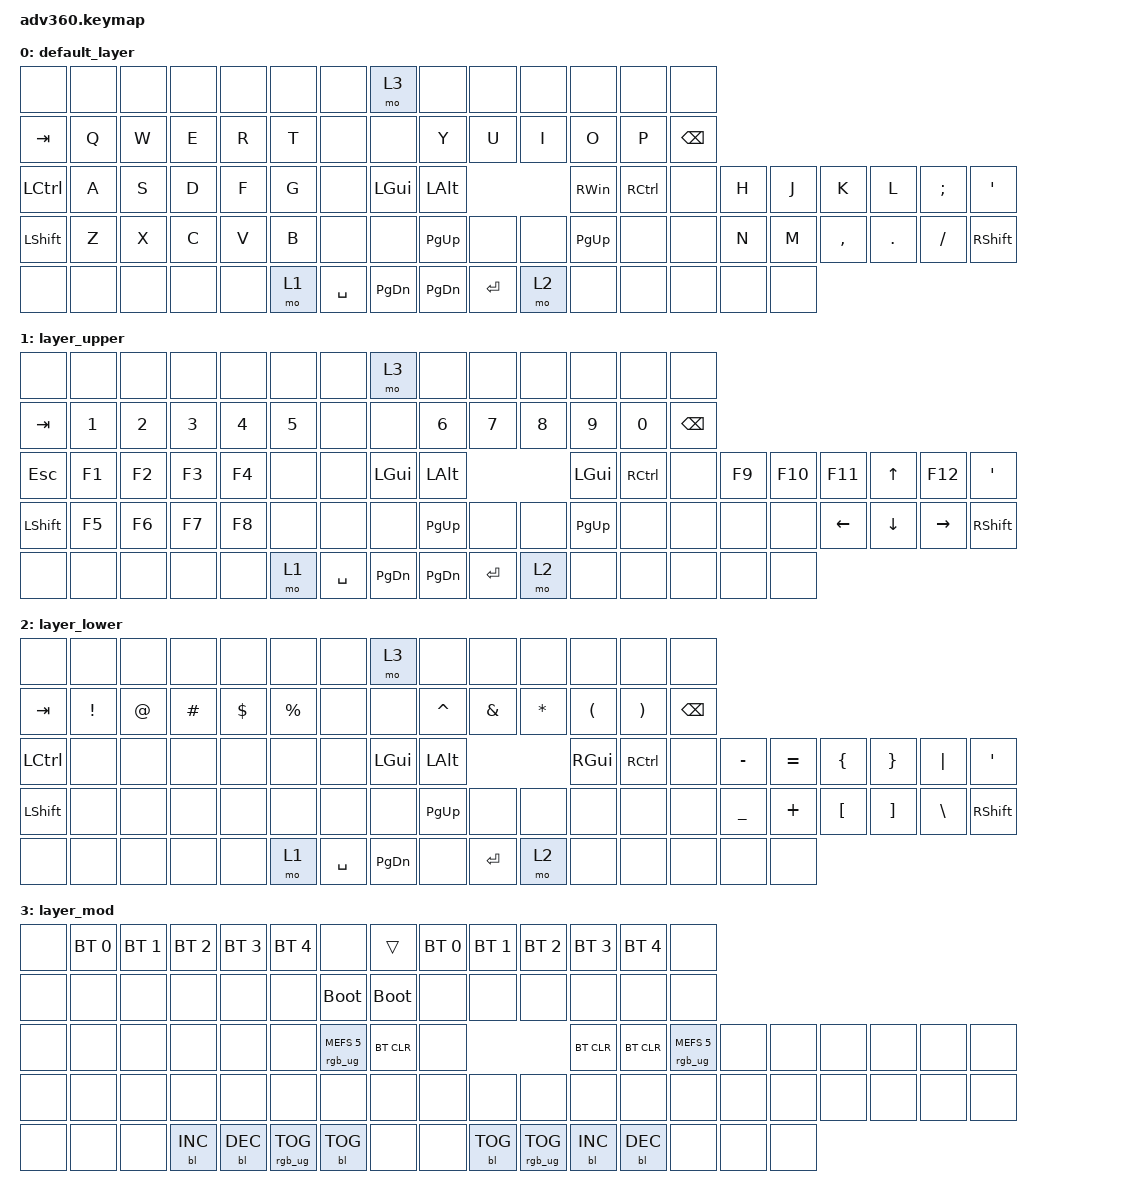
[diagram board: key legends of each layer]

/*
 * Copyright (c) 2020 The ZMK Contributors
 *
 * SPDX-License-Identifier: MIT
 */


/* THIS FILE WAS GENERATED!
 *
 * This file was generated automatically. You may or may not want to
 * edit it directly.
 */

#include <behaviors.dtsi>
#include <dt-bindings/zmk/keys.h>
#include <dt-bindings/zmk/bt.h>
#include <dt-bindings/zmk/rgb.h>
#include <dt-bindings/zmk/backlight.h>

/ {
  behaviors {
    #include "macros.dtsi"
    #include "version.dtsi"

    hm: homerow_mods {
        compatible = "zmk,behavior-hold-tap";
        label = "HOMEROW_MODS";
        #binding-cells = <2>;
        tapping-term-ms = <200>;
        quick_tap_ms = <175>;
        flavor = "tap-preferred";
        bindings = <&kp>, <&kp>;
    };
  };

    keymap {
        compatible = "zmk,keymap";


        default_layer {
            bindings = <
     &none   &none   &none   &none   &none   &none                &none          &mo 3         &none      &none   &none          &none      &none          &none
   &kp TAB   &kp Q   &kp W   &kp E   &kp R   &kp T                &none          &none         &kp Y      &kp U   &kp I          &kp O      &kp P  &kp BACKSPACE
 &kp LCTRL   &kp A   &kp S   &kp D   &kp F   &kp G                &none   &kp LEFT_GUI  &kp LEFT_ALT                     &kp RIGHT_WIN  &kp RCTRL          &none   &kp H   &kp J      &kp K    &kp L  &kp SEMI    &kp SQT
 &kp LSHFT   &kp Z   &kp X   &kp C   &kp V   &kp B                &none          &none   &kp PAGE_UP      &none   &none      &kp PG_UP      &none          &none   &kp N   &kp M  &kp COMMA  &kp DOT  &kp FSLH  &kp RSHFT
     &none   &none   &none   &none   &none   &mo 1            &kp SPACE  &kp PAGE_DOWN     &kp PG_DN  &kp ENTER   &mo 2          &none      &none          &none   &none   &none
            >;
        };

        layer_upper {
            bindings = <
     &none         &none         &none         &none         &none         &none                &none          &mo 3         &none         &none         &none         &none         &none          &none
   &kp TAB  &kp NUMBER_1  &kp NUMBER_2  &kp NUMBER_3  &kp NUMBER_4  &kp NUMBER_5                &none          &none  &kp NUMBER_6  &kp NUMBER_7  &kp NUMBER_8  &kp NUMBER_9  &kp NUMBER_0  &kp BACKSPACE
   &kp ESC        &kp F1        &kp F2        &kp F3        &kp F4         &none                &none   &kp LEFT_GUI      &kp LALT                                  &kp LGUI     &kp RCTRL          &none  &kp F9  &kp F10         &kp F11    &kp UP_ARROW          &kp F12    &kp SQT
 &kp LSHFT        &kp F5        &kp F6        &kp F7        &kp F8         &none                &none          &none   &kp PAGE_UP         &none         &none     &kp PG_UP         &none          &none   &none    &none  &kp LEFT_ARROW  &kp DOWN_ARROW  &kp RIGHT_ARROW  &kp RSHFT
     &none         &none         &none         &none         &none         &mo 1            &kp SPACE  &kp PAGE_DOWN     &kp PG_DN     &kp ENTER         &mo 2         &none         &none          &none   &none    &none
            >;
        };

        layer_lower {
            bindings = <
          &none     &none   &none     &none       &none        &none                &none         &mo 3         &none      &none     &none          &none      &none     &none
        &kp TAB  &kp EXCL  &kp AT  &kp HASH  &kp DOLLAR  &kp PERCENT                &none         &none     &kp CARET   &kp AMPS  &kp STAR       &kp LPAR   &kp RPAR  &kp BSPC
      &kp LCTRL     &none   &none     &none       &none        &none                &none  &kp LEFT_GUI  &kp LEFT_ALT                       &kp RIGHT_GUI  &kp RCTRL     &none       &kp MINUS  &kp EQUAL  &kp LBRC  &kp RBRC  &kp PIPE          &kp SQT
 &kp LEFT_SHIFT     &none   &none     &none       &none        &none                &none         &none     &kp PG_UP      &none     &none          &none      &none     &none  &kp UNDERSCORE   &kp PLUS  &kp LBKT  &kp RBKT  &kp BSLH  &kp RIGHT_SHIFT
          &none     &none   &none     &none       &none        &mo 1            &kp SPACE     &kp PG_DN         &none  &kp ENTER     &mo 2          &none      &none     &none           &none      &none
            >;
        };

        layer_mod {
            bindings = <
  &none  &bt BT_SEL 0  &bt BT_SEL 1  &bt BT_SEL 2  &bt BT_SEL 3     &bt BT_SEL 4                             &none       &trans  &bt BT_SEL 0  &bt BT_SEL 1     &bt BT_SEL 2  &bt BT_SEL 3  &bt BT_SEL 4                   &none
  &none         &none         &none         &none         &none            &none                       &bootloader  &bootloader         &none         &none            &none         &none         &none                   &none
  &none         &none         &none         &none         &none            &none            &rgb_ug RGB_MEFS_CMD 5   &bt BT_CLR         &none                                   &bt BT_CLR    &bt BT_CLR  &rgb_ug RGB_MEFS_CMD 5   &none   &none   &none   &none   &none   &none
  &none         &none         &none         &none         &none            &none                             &none        &none         &none         &none            &none         &none         &none                   &none   &none   &none   &none   &none   &none   &none
  &none         &none         &none    &bl BL_INC    &bl BL_DEC  &rgb_ug RGB_TOG                        &bl BL_TOG        &none         &none    &bl BL_TOG  &rgb_ug RGB_TOG    &bl BL_INC    &bl BL_DEC                   &none   &none   &none
            >;
        };

    };
};
